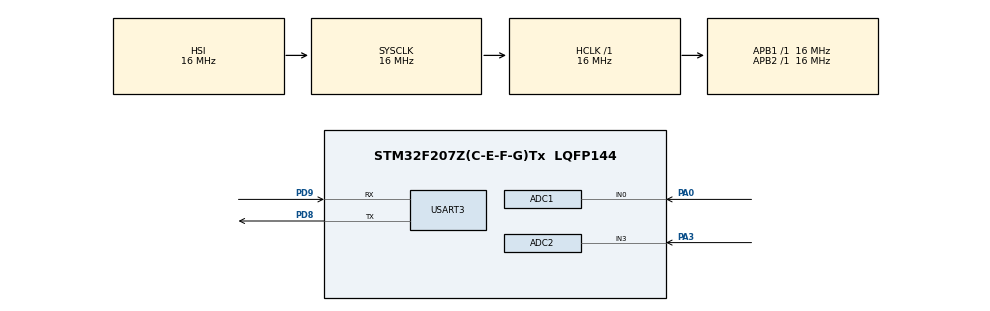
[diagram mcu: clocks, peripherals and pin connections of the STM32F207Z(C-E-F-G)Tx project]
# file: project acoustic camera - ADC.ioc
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ADC1.Channel-0\#ChannelRegularConversion=ADC_CHANNEL_0
ADC1.ContinuousConvMode=ENABLE
ADC1.DMAContinuousRequests=ENABLE
ADC1.NbrOfConversionFlag=1
ADC1.Rank-0\#ChannelRegularConversion=1
ADC1.Resolution=ADC_RESOLUTION_12B
ADC1.SamplingTime-0\#ChannelRegularConversion=ADC_SAMPLETIME_3CYCLES
ADC1.master=1
ADC2.Channel-3\#ChannelRegularConversion=ADC_CHANNEL_3
ADC2.DMAContinuousRequests=ENABLE
ADC2.NbrOfConversionFlag=1
ADC2.Rank-3\#ChannelRegularConversion=1
ADC2.SamplingTime-3\#ChannelRegularConversion=ADC_SAMPLETIME_3CYCLES
Dma.ADC1.0.Direction=DMA_PERIPH_TO_MEMORY
Dma.ADC1.0.FIFOMode=DMA_FIFOMODE_DISABLE
Dma.ADC1.0.Instance=DMA2_Stream0
Dma.ADC1.0.MemDataAlignment=DMA_MDATAALIGN_HALFWORD
Dma.ADC1.0.MemInc=DMA_MINC_ENABLE
Dma.ADC1.0.Mode=DMA_NORMAL
Dma.ADC1.0.PeriphDataAlignment=DMA_PDATAALIGN_HALFWORD
Dma.ADC1.0.PeriphInc=DMA_PINC_DISABLE
Dma.ADC1.0.Priority=DMA_PRIORITY_LOW
Dma.ADC2.1.Direction=DMA_PERIPH_TO_MEMORY
Dma.ADC2.1.FIFOMode=DMA_FIFOMODE_DISABLE
Dma.ADC2.1.Instance=DMA2_Stream2
Dma.ADC2.1.MemDataAlignment=DMA_MDATAALIGN_HALFWORD
Dma.ADC2.1.MemInc=DMA_MINC_ENABLE
Dma.ADC2.1.Mode=DMA_NORMAL
Dma.ADC2.1.PeriphDataAlignment=DMA_PDATAALIGN_HALFWORD
Dma.ADC2.1.PeriphInc=DMA_PINC_DISABLE
Dma.ADC2.1.Priority=DMA_PRIORITY_LOW
Dma.Request0=ADC1
Dma.Request1=ADC2
Mcu.Family=STM32F2
Mcu.Name=STM32F207Z(C-E-F-G)Tx
Mcu.Package=LQFP144
NVIC.ADC_IRQn=true\:3\:0\:true\:true\:true\:4\:true\:true
NVIC.DMA2_Stream0_IRQn=true\:2\:0\:true\:true\:true\:2\:false\:true
NVIC.DMA2_Stream2_IRQn=true\:2\:0\:true\:true\:true\:1\:false\:true
NVIC.PriorityGroup=NVIC_PRIORITYGROUP_4
NVIC.USART3_IRQn=true\:1\:0\:true\:true\:true\:3\:true\:true
PA0-WKUP.Signal=ADCx_IN0
PA3.Signal=ADCx_IN3
PD8.Mode=Asynchronous
PD8.Signal=USART3_TX
PD9.Mode=Asynchronous
PD9.Signal=USART3_RX
ProjectManager.HeapSize=0x200
ProjectManager.StackSize=0x400
ProjectManager.TargetToolchain=STM32CubeIDE
RCC.48MHZClocksFreq_Value=48000000
RCC.AHBFreq_Value=16000000
RCC.APB1Freq_Value=16000000
RCC.APB2Freq_Value=16000000
RCC.CortexFreq_Value=16000000
RCC.HSE_VALUE=25000000
RCC.HSI_VALUE=16000000
RCC.LSE_VALUE=32768
RCC.SYSCLKFreq_VALUE=16000000
RCC.VCOOutputFreq_Value=192000000
SH.ADCx_IN0.0=ADC1_IN0,IN0
SH.ADCx_IN3.0=ADC2_IN3,IN3
USART3.VirtualMode=VM_ASYNC
board=custom

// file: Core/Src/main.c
/* USER CODE BEGIN Header */
/**
  ******************************************************************************
  * @file           : main.c
  * @brief          : Main program body
  ******************************************************************************
  * @attention
  *
  * <h2><center>&copy; Copyright (c) 2020 STMicroelectronics.
  * All rights reserved.</center></h2>
  *
  * This software component is licensed by ST under BSD 3-Clause license,
  * the "License"; You may not use this file except in compliance with the
  * License. You may obtain a copy of the License at:
  *                        opensource.org/licenses/BSD-3-Clause
  *
  ******************************************************************************
  */
/* USER CODE END Header */
#include "main.h"

/* USER CODE BEGIN Includes */
#include <string.h>
#include <stdio.h>
#include "pipy.h"
/* USER CODE END Includes */

/* USER CODE BEGIN PD */

#define ADC_BUF_LEN 32
/* USER CODE END PD */

ADC_HandleTypeDef hadc1;
ADC_HandleTypeDef hadc2;
DMA_HandleTypeDef hdma_adc1;
DMA_HandleTypeDef hdma_adc2;

UART_HandleTypeDef huart3;

/* USER CODE BEGIN PV */

/*
 *  when changing the number of samples, modify the filter coefficients and the constants in pipy.c
 */

float signal_1[ADC_BUF_LEN];
float signal_2[ADC_BUF_LEN];
float a[1];
char b[20];
volatile int elyoya1 = 0;
volatile int elyoya2 = 0;

///6cm distance --> lambda=12cm -> 2.833kHz
//sampling f = 2.33Mhz?

float lowpassfilter[32] = {2765541925812.212,
	  		-5051408627714.337,
	  		3003502269657.084,
	  		1246011895970.8718,
	  		-4852482611499.506,
	  		4093836989215.3867,
	  		464598912214.86285,
	  		-4661157860609.117,
	  		4211873398844.519,
	  		-561237639523.7006,
	  		-3600756011494.89,
	  		5131753135135.463,
	  		-1223440935071.6355,
	  		-3036042819079.73,
	  		4822910997545.463,
	  		-2753503019402.955,
	  		-2753503019402.955,
	  		4822910997545.463,
	  		-3036042819079.73,
	  		-1223440935071.6355,
	  		5131753135135.463,
	  		-3600756011494.89,
	  		-561237639523.7006,
	  		4211873398844.519,
	  		-4661157860609.117,
	  		464598912214.86285,
	  		4093836989215.3867,
	  		-4852482611499.506,
	  		1246011895970.8718,
	  		3003502269657.084,
	  		-5051408627714.337,
	  		2765541925812.212,
	  };

	float p_sum[8];
	float sum[17];
	float phi;
	float theta;

	// test signals with phase shift 1.963495 (0.75 pi)
	float *p_1;  // pointer that points to filtered_output
	float *p_2;
/* USER CODE END PV */

void SystemClock_Config(void);
static void MX_GPIO_Init(void);
static void MX_DMA_Init(void);
static void MX_ADC1_Init(void);
static void MX_USART3_UART_Init(void);
static void MX_ADC2_Init(void);
static void MX_NVIC_Init(void);

int main(void)
{

  /* MCU Configuration--------------------------------------------------------*/

  /* Reset of all peripherals, Initializes the Flash interface and the Systick. */
  HAL_Init();

  /* USER CODE BEGIN Init */
  elyoya1 = 0;
  elyoya2 = 0;
  /* USER CODE END Init */

  /* Configure the system clock */
  SystemClock_Config();

  /* Initialize all configured peripherals */
  MX_GPIO_Init();
  MX_DMA_Init();
  MX_ADC1_Init();
  MX_USART3_UART_Init();
  MX_ADC2_Init();

  /* Initialize interrupts */
  MX_NVIC_Init();
  /* USER CODE BEGIN 2 */

  char str[1];
  str[0] = 0x41;

  HAL_ADC_Start_DMA(&hadc1, (uint32_t*)signal_1, ADC_BUF_LEN );
  HAL_ADC_Start_DMA(&hadc2, (uint32_t*)signal_2, ADC_BUF_LEN );

  HAL_UART_Transmit(&huart3, (uint8_t*)str, sizeof(str), HAL_MAX_DELAY ); // just to debug
  //HAL_SPI_Receive(&hspi2, (unint8_t*)b, sizeof(b), HAL_MAX_DELAY);

  /* USER CODE END 2 */

  /* Infinite loop */
  /* USER CODE BEGIN WHILE */
  while (1)
  {

	  HAL_ADC_Start_DMA(&hadc1, (uint32_t*)signal_1, ADC_BUF_LEN );
	  HAL_ADC_Start_DMA(&hadc2, (uint32_t*)signal_2, ADC_BUF_LEN );
	  if (elyoya1 ==1) {

		  HAL_Delay(100);
		  char test[1] = {0x48};  // used for debugging
		  HAL_UART_Transmit(&huart3, (uint8_t*)test, sizeof(test), HAL_MAX_DELAY );

			// here we call the filtering and cross-correlation algorithms
		  p_1 = FIRFilter_Init();
		  p_2 = FIRFilter_Init();

		  p_1 = FIRFilter_Filter(lowpassfilter, signal_1);
		  p_2 = FIRFilter_Filter(lowpassfilter, signal_2);

		  phi = CrossCorrelation(p_1, p_2, p_sum, sum); //computes phi from the 2 signals
		  theta = Theta(phi);  // computes theta from phi
		  phi = 0.0f; // reset phi

		  a[0] = theta;

			//sprintf(b, "%f", theta);
		  sprintf(b,"%d.%02u", (int) theta, (int) fabs(((theta - (int) theta ) * 100)));

		  HAL_UART_Transmit(&huart3, (uint8_t*)b, sizeof(b), HAL_MAX_DELAY );

		  elyoya1 = 0;
		  elyoya2 = 0;

		  HAL_Delay(500);
	  }
    /* USER CODE END WHILE */

  }
}

void SystemClock_Config(void)
{
  RCC_OscInitTypeDef RCC_OscInitStruct = {0};
  RCC_ClkInitTypeDef RCC_ClkInitStruct = {0};

  /** Initializes the RCC Oscillators according to the specified parameters
  * in the RCC_OscInitTypeDef structure.
  */
  RCC_OscInitStruct.OscillatorType = RCC_OSCILLATORTYPE_HSI;
  RCC_OscInitStruct.HSIState = RCC_HSI_ON;
  RCC_OscInitStruct.HSICalibrationValue = RCC_HSICALIBRATION_DEFAULT;
  RCC_OscInitStruct.PLL.PLLState = RCC_PLL_NONE;
  if (HAL_RCC_OscConfig(&RCC_OscInitStruct) != HAL_OK)
  {
    Error_Handler();
  }
  /** Initializes the CPU, AHB and APB buses clocks
  */
  RCC_ClkInitStruct.ClockType = RCC_CLOCKTYPE_HCLK|RCC_CLOCKTYPE_SYSCLK
                              |RCC_CLOCKTYPE_PCLK1|RCC_CLOCKTYPE_PCLK2;
  RCC_ClkInitStruct.SYSCLKSource = RCC_SYSCLKSOURCE_HSI;
  RCC_ClkInitStruct.AHBCLKDivider = RCC_SYSCLK_DIV1;
  RCC_ClkInitStruct.APB1CLKDivider = RCC_HCLK_DIV1;
  RCC_ClkInitStruct.APB2CLKDivider = RCC_HCLK_DIV1;

  if (HAL_RCC_ClockConfig(&RCC_ClkInitStruct, FLASH_LATENCY_0) != HAL_OK)
  {
    Error_Handler();
  }
}

/**
  * @brief NVIC Configuration.
  * @retval None
  */
static void MX_NVIC_Init(void)
{
  /* DMA2_Stream2_IRQn interrupt configuration */
  HAL_NVIC_SetPriority(DMA2_Stream2_IRQn, 2, 0);
  HAL_NVIC_EnableIRQ(DMA2_Stream2_IRQn);
  /* DMA2_Stream0_IRQn interrupt configuration */
  HAL_NVIC_SetPriority(DMA2_Stream0_IRQn, 2, 0);
  HAL_NVIC_EnableIRQ(DMA2_Stream0_IRQn);
  /* USART3_IRQn interrupt configuration */
  HAL_NVIC_SetPriority(USART3_IRQn, 1, 0);
  HAL_NVIC_EnableIRQ(USART3_IRQn);
  /* ADC_IRQn interrupt configuration */
  HAL_NVIC_SetPriority(ADC_IRQn, 3, 0);
  HAL_NVIC_EnableIRQ(ADC_IRQn);
}

static void MX_ADC1_Init(void)
{

  ADC_ChannelConfTypeDef sConfig = {0};

  /** Configure the global features of the ADC (Clock, Resolution, Data Alignment and number of conversion)
  */
  hadc1.Instance = ADC1;
  hadc1.Init.ClockPrescaler = ADC_CLOCK_SYNC_PCLK_DIV2;
  hadc1.Init.Resolution = ADC_RESOLUTION_12B;
  hadc1.Init.ScanConvMode = DISABLE;
  hadc1.Init.ContinuousConvMode = ENABLE;
  hadc1.Init.DiscontinuousConvMode = DISABLE;
  hadc1.Init.ExternalTrigConvEdge = ADC_EXTERNALTRIGCONVEDGE_NONE;
  hadc1.Init.ExternalTrigConv = ADC_SOFTWARE_START;
  hadc1.Init.DataAlign = ADC_DATAALIGN_RIGHT;
  hadc1.Init.NbrOfConversion = 1;
  hadc1.Init.DMAContinuousRequests = ENABLE;
  hadc1.Init.EOCSelection = ADC_EOC_SINGLE_CONV;
  if (HAL_ADC_Init(&hadc1) != HAL_OK)
  {
    Error_Handler();
  }
  /** Configure for the selected ADC regular channel its corresponding rank in the sequencer and its sample time.
  */
  sConfig.Channel = ADC_CHANNEL_0;
  sConfig.Rank = 1;
  sConfig.SamplingTime = ADC_SAMPLETIME_3CYCLES;
  if (HAL_ADC_ConfigChannel(&hadc1, &sConfig) != HAL_OK)
  {
    Error_Handler();
  }

}

static void MX_ADC2_Init(void)
{

  ADC_ChannelConfTypeDef sConfig = {0};

  /** Configure the global features of the ADC (Clock, Resolution, Data Alignment and number of conversion)
  */
  hadc2.Instance = ADC2;
  hadc2.Init.ClockPrescaler = ADC_CLOCK_SYNC_PCLK_DIV2;
  hadc2.Init.Resolution = ADC_RESOLUTION_12B;
  hadc2.Init.ScanConvMode = DISABLE;
  hadc2.Init.ContinuousConvMode = ENABLE;
  hadc2.Init.DiscontinuousConvMode = DISABLE;
  hadc2.Init.ExternalTrigConvEdge = ADC_EXTERNALTRIGCONVEDGE_NONE;
  hadc2.Init.ExternalTrigConv = ADC_SOFTWARE_START;
  hadc2.Init.DataAlign = ADC_DATAALIGN_RIGHT;
  hadc2.Init.NbrOfConversion = 1;
  hadc2.Init.DMAContinuousRequests = ENABLE;
  hadc2.Init.EOCSelection = ADC_EOC_SINGLE_CONV;
  if (HAL_ADC_Init(&hadc2) != HAL_OK)
  {
    Error_Handler();
  }
  /** Configure for the selected ADC regular channel its corresponding rank in the sequencer and its sample time.
  */
  sConfig.Channel = ADC_CHANNEL_3;
  sConfig.Rank = 1;
  sConfig.SamplingTime = ADC_SAMPLETIME_3CYCLES;
  if (HAL_ADC_ConfigChannel(&hadc2, &sConfig) != HAL_OK)
  {
    Error_Handler();
  }

}

static void MX_USART3_UART_Init(void)
{

  huart3.Instance = USART3;
  huart3.Init.BaudRate = 115200;
  huart3.Init.WordLength = UART_WORDLENGTH_8B;
  huart3.Init.StopBits = UART_STOPBITS_1;
  huart3.Init.Parity = UART_PARITY_NONE;
  huart3.Init.Mode = UART_MODE_TX_RX;
  huart3.Init.HwFlowCtl = UART_HWCONTROL_NONE;
  huart3.Init.OverSampling = UART_OVERSAMPLING_16;
  if (HAL_UART_Init(&huart3) != HAL_OK)
  {
    Error_Handler();
  }

}

static void MX_DMA_Init(void)
{

  /* DMA controller clock enable */
  __HAL_RCC_DMA2_CLK_ENABLE();

}

static void MX_GPIO_Init(void)
{

  /* GPIO Ports Clock Enable */
  __HAL_RCC_GPIOA_CLK_ENABLE();
  __HAL_RCC_GPIOD_CLK_ENABLE();

}

/* USER CODE BEGIN 4 */

// call back when buffer half filled
/*
void HAL_ADC_ConvHalfCpltCallBack(ADC_HandleTypeDef* hadc) {
	//code that runs when buffer half filled
}
*/

//buffer half full callback
void HAL_ADC_ConvCpltCallBack(ADC_HandleTypeDef* hadc) {

	if (hadc == &hadc2 ) {
		elyoya2 = 1;
	}
	if (hadc == &hadc1) {
		elyoya1 = 1;
	}
}

/* USER CODE END 4 */

void Error_Handler(void)
{
}

/************************ (C) COPYRIGHT STMicroelectronics *****END OF FILE****/
